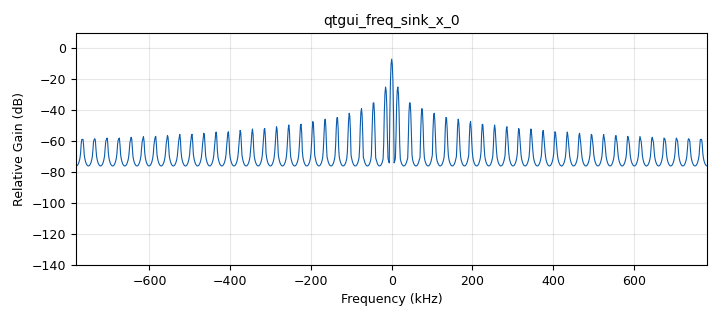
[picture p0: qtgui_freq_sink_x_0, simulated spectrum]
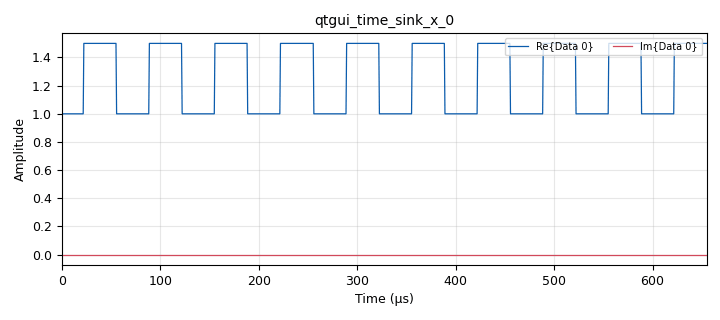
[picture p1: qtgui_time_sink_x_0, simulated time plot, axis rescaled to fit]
options:
  parameters:
    author: Sebastian_Magda
    generate_options: qt_gui
    id: practica2_LabComu2_G07
    output_language: python
    title: Modulaciones_digitales
  states: {}

blocks:
- name: Ac
  id: variable_qtgui_range
  parameters:
    label: Amplitud de l aportadora
    start: '0'
    step: '1e-1'
    stop: '2'
    value: '1'
  states: {}
- name: Fc
  id: variable_qtgui_range
  parameters:
    label: frecuencia de portadora
    start: '50000000'
    step: '1000000'
    stop: '2200000000'
    value: '50000000'
  states: {}
- name: GTX
  id: variable_qtgui_range
  parameters:
    label: Ganancia del transmisor
    start: '0'
    step: '1'
    stop: '30'
    value: '0'
  states: {}
- name: Ka
  id: variable_qtgui_range
  parameters:
    label: coeficiente sensibilidad
    start: '0'
    step: '1e-1'
    stop: '2'
    value: '1'
  states: {}
- name: samp_rate
  id: variable
  parameters:
    value: 12500000/8
  states: {}
- name: analog_sig_source_x_0
  id: analog_sig_source_x
  parameters:
    amp: '5e-1'
    freq: '15000'
    offset: '0'
    phase: '0'
    samp_rate: samp_rate
    type: float
    waveform: analog.GR_SQR_WAVE
  states: {}
- name: blocks_add_const_vxx_0
  id: blocks_add_const_vxx
  parameters:
    const: '1'
    type: float
  states: {}
- name: blocks_float_to_complex_0
  id: blocks_float_to_complex
  parameters: {}
  states: {}
- name: blocks_multiply_const_vxx_0
  id: blocks_multiply_const_vxx
  parameters:
    const: Ka
    type: float
  states: {}
- name: blocks_multiply_const_vxx_1
  id: blocks_multiply_const_vxx
  parameters:
    const: Ac
    type: complex
  states: {}
- name: blocks_null_source_0
  id: blocks_null_source
  parameters:
    type: float
  states: {}
- name: qtgui_freq_sink_x_0
  id: qtgui_freq_sink_x
  parameters:
    bw: samp_rate
    fc: '0'
    fftsize: '1024'
    type: complex
  states: {}
- name: qtgui_time_sink_x_0
  id: qtgui_time_sink_x
  parameters:
    size: '1024'
    srate: samp_rate
    type: complex
  states: {}
- name: uhd_usrp_sink_0
  id: uhd_usrp_sink
  parameters:
    ant0: '"TX/RX"'
    center_freq0: Fc
    gain0: GTX
    samp_rate: samp_rate
    sync: pc_clock
    type: fc32
  states: {}

connections:
- [analog_sig_source_x_0, '0', blocks_multiply_const_vxx_0, '0']
- [blocks_add_const_vxx_0, '0', blocks_float_to_complex_0, '0']
- [blocks_float_to_complex_0, '0', blocks_multiply_const_vxx_1, '0']
- [blocks_multiply_const_vxx_0, '0', blocks_add_const_vxx_0, '0']
- [blocks_multiply_const_vxx_1, '0', qtgui_freq_sink_x_0, '0']
- [blocks_multiply_const_vxx_1, '0', qtgui_time_sink_x_0, '0']
- [blocks_multiply_const_vxx_1, '0', uhd_usrp_sink_0, '0']
- [blocks_null_source_0, '0', blocks_float_to_complex_0, '1']

metadata:
  file_format: 1
  grc_version: 3.10.2.0
